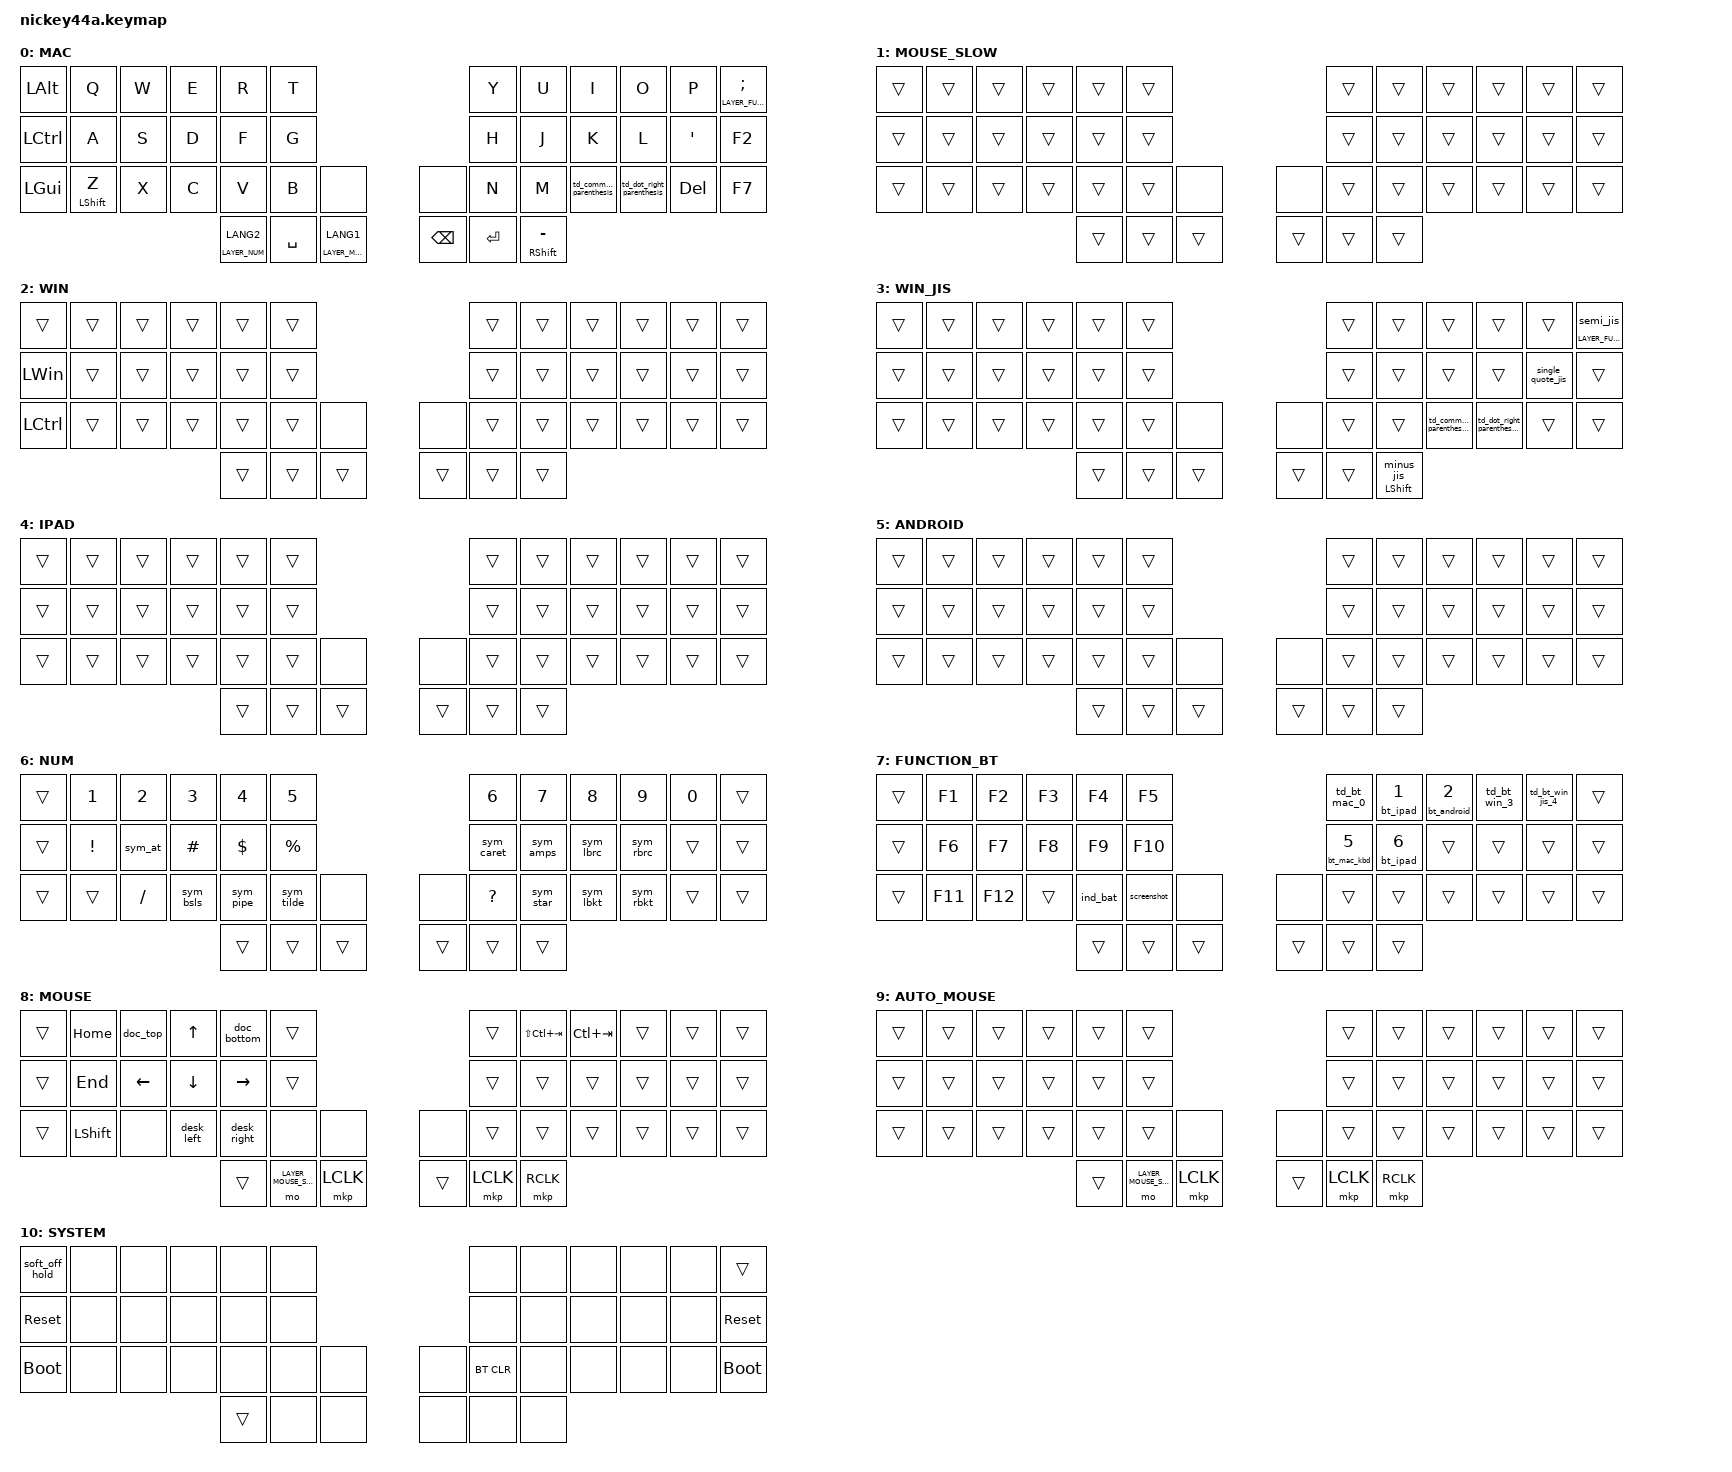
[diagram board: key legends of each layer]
/*
 * Based on the tomkey keymap (p1us2er0/tomkey config/tomkey.keymap).
 *
 * Key positions differ: tomkey has an inner column and a bottom row, the
 * Nickey44A-PAD has an outer column instead. Positions 30 (right of B) and
 * 31 (left of N) are covered by the trackpads and have no switch, so they
 * are &none. 42 keys are left. Moved keys:
 *   tomkey bottom row Cmd / Opt / Ctrl -> left outer column bottom / top / middle
 *   tomkey inner ;/FUNCTION            -> right outer column top (11), FUNCTION_BT
 *   tomkey inner -/Shift               -> right thumb outer (43)
 *   tomkey inner '                     -> right home row, pinky (22)
 *   tomkey bottom right Del            -> right bottom row, pinky (36)
 *   tomkey pinky F2 / F7               -> right outer column middle / bottom (23 / 37)
 *   tomkey inner Ctrl+Space            -> combo F + G
 *   tomkey combo ' + H for `           -> J + K
 *
 * FUNCTION_BT has the F keys on the left (F1-F5 on the top row, F6-F10 on
 * the home row, then F11 and F12, with battery on V and screenshot on B)
 * and the Bluetooth profiles on the right: the first host of each kind on
 * the top row, the second Mac and iPad below the first. Its left outer column stays the
 * modifiers, so that they work with the F keys in either order. Reset,
 * Boot, soft off and BT_CLR are on SYSTEM, which is on only while both
 * FUNCTION_BT and NUM are held (; and LANG2, two hands): Reset and Boot on the
 * outer column of both halves, middle and bottom, as the right outer top
 * is the FUNCTION_BT key itself.
 *
 * Layer numbers differ from tomkey. nickey44a_r.overlay refers to layers
 * by number, so keep these in step with it: MOUSE_SLOW (1) slows the right
 * trackpad, turns its two-finger left/right swipes into Back/Forward and
 * its two-finger tap into the zoom reset, WIN (2), IPAD (4) and ANDROID (5)
 * pick the host's swipe keys, NUM (6) turns the right pad's swipes into the
 * app switcher, and touching the pad enters AUTO_MOUSE (9). The rgbled
 * colors in nickey44a_r.conf are per layer number too (SYSTEM (10) is red).
 *
 * WIN, WIN_JIS, IPAD and ANDROID are host flags, set by the Bluetooth
 * profile keys on FUNCTION_BT, and at startup for the saved profile by
 * profile_layers below (src/profile_layers.c). WIN is on for both Windows
 * profiles and for Android, whose shortcuts use Ctrl as on Windows. WIN_JIS
 * is on as well for the JIS Windows and only holds the keys whose symbols
 * move on JIS; ANDROID is on as well for Android and picks the few keys that
 * differ from Windows. The flags sit below NUM so that NUM's keys win over
 * the WIN_JIS keys, and keys that differ by host choose their binding with
 * layer morphs (zmk,behavior-layer-morph) instead of separate layers. The
 * combos with a layer list name every host flag: ZMK checks a combo's
 * layers against the highest active layer only.
 */

#include <behaviors.dtsi>
#include <dt-bindings/zmk/bt.h>
#include <dt-bindings/zmk/keys.h>
#include <dt-bindings/zmk/pointing.h>
#include <behaviors/rgbled_widget.dtsi>  // &ind_bat: FUNCTION_BT + V shows the battery levels

#define LAYER_MAC 0
#define LAYER_MOUSE_SLOW 1
#define LAYER_WIN 2
#define LAYER_WIN_JIS 3
#define LAYER_IPAD 4
#define LAYER_ANDROID 5
#define LAYER_NUM 6
#define LAYER_FUNCTION_BT 7
#define LAYER_MOUSE 8
#define LAYER_AUTO_MOUSE 9
#define LAYER_SYSTEM 10

#define ZKHK_JIS                  GRAVE                  // Zenkaku ↔ Hankaku ↔ Kanji (半角 ↔ 全角 ↔ 漢字)
#define MINUS_JIS                 MINUS                  // -
#define CARET_JIS                 EQUAL                  // ^
#define YEN_JIS                   INT3                   // ¥
#define AT_SIGN_JIS               LBKT                   // @
#define LEFT_BRACKET_JIS          RBKT                   // [
#define EISU_JIS                  CAPS                   // Eisū (英数)
#define SEMI_JIS                  SEMI                   // ;
#define COLON_JIS                 SQT                    // :
#define RIGHT_BRACKET_JIS         NUHS                   // ]
#define COMMA_JIS                 COMMA                  // ,
#define DOT_JIS                   DOT                    // .
#define SLASH_JIS                 SLASH                  // /
#define BACKSLASH_JIS             INT1                   // (backslash)
#define MHEN_JIS                  INT5                   // Muhenkan (無変換)
#define HENK_JIS                  INT4                   // Henkan (変換)
#define KANA_JIS                  INT2                   // Katakana ↔ Hiragana ↔ Rōmaji (カタカナ ↔ ひらがな ↔ ローマ字)
#define EXCLAMATION_JIS           LS(N1)                 // !
#define DOUBLE_QUOTE_JIS          LS(N2)                 // "
#define HASH_JIS                  LS(N3)                 // #
#define DOLLAR_JIS                LS(N4)                 // $
#define PERCENT_JIS               LS(N5)                 // %
#define AMPERSAND_JIS             LS(N6)                 // &
#define SINGLE_QUOTE_JIS          LS(N7)                 // '
#define LEFT_PARENTHESIS_JIS      LS(N8)                 // (
#define RIGHT_PARENTHESIS_JIS     LS(N9)                 // )
#define EQUAL_JIS                 LS(MINUS_JIS)          // =
#define TILDE_JIS                 LS(CARET_JIS)          // ~
#define PIPE_JIS                  LS(YEN_JIS)            // |
#define GRAVE_JIS                 LS(AT_SIGN_JIS)        // `
#define LEFT_BRACE_JIS            LS(LEFT_BRACKET_JIS)   // {
#define CAPS_JIS                  LS(EISU_JIS)           // Caps Lock
#define PLUS_JIS                  LS(SEMI_JIS)           // +
#define ASTERISK_JIS              LS(COLON_JIS)          // *
#define RIGHT_BRACE_JIS           LS(RIGHT_BRACKET_JIS)  // }
#define LT_JIS                    LS(COMMA_JIS)          // <
#define RT_JIS                    LS(DOT_JIS)            // >
#define QUESTION_JIS              LS(SLASH_JIS)          // ?
#define UNDER_JIS                 LS(BACKSLASH_JIS)      // _

&mt {
    flavor = "balanced";
    quick-tap-ms = <0>;
    tapping-term-ms = <500>;
};

/*
 * Same as tomkey (where this is in tomkey_L.overlay): do not enter the auto
 * mouse layer within 300 ms of a key press, and leave it at once on any key
 * other than the modifiers (Opt 0, Ctrl 12, Cmd 24, Z/Shift 25) and the
 * thumb keys used in AUTO_MOUSE (Space 39, LANG1 40, Enter 42, -/Shift 43).
 * Backspace (41) types and leaves, like the other keys.
 */
&zip_temp_layer {
    require-prior-idle-ms = <300>;
    excluded-positions = <0 12 24 25 39 40 42 43>;
};

&mkp_input_listener { input-processors = <&zip_temp_layer LAYER_AUTO_MOUSE 500>; };

/ {
    combos {
        compatible = "zmk,combos";

        escape {
            bindings = <&kp ESC>;
            key-positions = <1 2>;
        };

        tab {
            bindings = <&kp TAB>;
            key-positions = <14 15>;
        };

        shift_tab {
            bindings = <&kp LS(TAB)>;
            key-positions = <13 14>;
        };

        // tomkey has Ctrl+Space on the inner key right of G, on the base
        // layer only (&trans elsewhere), so this combo works on every layer.
        ctrl_space {
            bindings = <&kp LC(SPACE)>;
            key-positions = <16 17>;
        };

        // These pick the key for the host with layer morphs (&os_comment and
        // the others), on the base layers and NUM.
        comment {
            bindings = <&os_comment>;
            key-positions = <15 16>;
            layers = <LAYER_MAC LAYER_WIN LAYER_WIN_JIS LAYER_IPAD LAYER_ANDROID LAYER_NUM>;
        };

        back_quote {
            bindings = <&os_grave>;
            key-positions = <19 20>;
            layers = <LAYER_MAC LAYER_WIN LAYER_WIN_JIS LAYER_IPAD LAYER_ANDROID LAYER_NUM>;
        };

        equal {
            bindings = <&os_equal>;
            key-positions = <18 19>;
            layers = <LAYER_MAC LAYER_WIN LAYER_WIN_JIS LAYER_IPAD LAYER_ANDROID LAYER_NUM>;
        };

        back {
            bindings = <&kp LG(LEFT_ARROW)>;
            key-positions = <25 26>;
            layers = <LAYER_MAC LAYER_IPAD>;
        };

        next {
            bindings = <&kp LG(RIGHT_ARROW)>;
            key-positions = <26 27>;
            layers = <LAYER_MAC LAYER_IPAD>;
        };

        back_win {
            bindings = <&kp LA(LEFT_ARROW)>;
            key-positions = <25 26>;
            layers = <LAYER_WIN LAYER_WIN_JIS LAYER_ANDROID>;
        };

        next_win {
            bindings = <&kp LA(RIGHT_ARROW)>;
            key-positions = <26 27>;
            layers = <LAYER_WIN LAYER_WIN_JIS LAYER_ANDROID>;
        };
    };

    // SYSTEM while both NUM and FUNCTION_BT are held (; and LANG2).
    conditional_layers {
        compatible = "zmk,conditional-layers";

        system {
            if-layers = <LAYER_NUM LAYER_FUNCTION_BT>;
            then-layer = <LAYER_SYSTEM>;
        };
    };

    // Host flags by Bluetooth profile (src/profile_layers.c): set at startup
    // for the saved profile and on each profile change. The profile keys on
    // FUNCTION_BT set the same layers themselves too, because ZMK raises no
    // event when the active profile is selected again.
    profile_layers {
        compatible = "zmk,profile-layers";
        layers = <LAYER_WIN LAYER_WIN_JIS LAYER_IPAD LAYER_ANDROID>;

        ipad_1 {
            profile = <1>;
            layers = <LAYER_IPAD>;
        };

        ipad_2 {
            profile = <6>;
            layers = <LAYER_IPAD>;
        };

        android {
            profile = <2>;
            layers = <LAYER_WIN LAYER_ANDROID>;
        };

        windows {
            profile = <3>;
            layers = <LAYER_WIN>;
        };

        windows_jis {
            profile = <4>;
            layers = <LAYER_WIN LAYER_WIN_JIS>;
        };
    };

    macros {
        to_layer_0: to_layer_0 {
            compatible = "zmk,behavior-macro-one-param";
            #binding-cells = <1>;
            bindings = <&to 0 &macro_param_1to1 &kp MACRO_PLACEHOLDER>;
            label = "TO_LAYER_0";
        };

        // F19 asks the Mac to take the monitor back once the keyboard has
        // switched to it. ZMK keeps the other hosts connected, so the Mac
        // cannot tell from Bluetooth alone which host is in use.
        bt_mac: bt_mac {
            compatible = "zmk,behavior-macro-one-param";
            #binding-cells = <1>;
            bindings = <&mac_us &macro_wait_time 300 &macro_param_1to2 &bt BT_SEL MACRO_PLACEHOLDER &kp F19>;
            label = "BT_MAC";
        };

        // F18 asks the Mac to hand the monitor over to Windows before the
        // keyboard leaves it. The wait lets the release reach the Mac before
        // the profile switch.
        bt_win: bt_win {
            compatible = "zmk,behavior-macro-one-param";
            #binding-cells = <1>;
            bindings = <&macro_wait_time 200 &kp F18 &macro_wait_time 15 &win_us &macro_param_1to2 &bt BT_SEL MACRO_PLACEHOLDER>;
            label = "BT_WIN";
        };

        bt_win_jis: bt_win_jis {
            compatible = "zmk,behavior-macro-one-param";
            #binding-cells = <1>;
            bindings = <&macro_wait_time 200 &kp F18 &macro_wait_time 15 &win_jis &macro_param_1to2 &bt BT_SEL MACRO_PLACEHOLDER>;
            label = "BT_WIN_JIS";
        };

        // Keyboard-only versions: switch the profile but leave the monitor
        // where it is (no F18/F19).
        bt_mac_kbd: bt_mac_kbd {
            compatible = "zmk,behavior-macro-one-param";
            #binding-cells = <1>;
            bindings = <&mac_us &macro_param_1to2 &bt BT_SEL MACRO_PLACEHOLDER>;
            label = "BT_MAC_KBD";
        };

        bt_win_kbd: bt_win_kbd {
            compatible = "zmk,behavior-macro-one-param";
            #binding-cells = <1>;
            bindings = <&win_us &macro_param_1to2 &bt BT_SEL MACRO_PLACEHOLDER>;
            label = "BT_WIN_KBD";
        };

        bt_win_jis_kbd: bt_win_jis_kbd {
            compatible = "zmk,behavior-macro-one-param";
            #binding-cells = <1>;
            bindings = <&win_jis &macro_param_1to2 &bt BT_SEL MACRO_PLACEHOLDER>;
            label = "BT_WIN_JIS_KBD";
        };

        // The iPad and Android have no monitor to hand over, so no F18/F19.
        bt_ipad: bt_ipad {
            compatible = "zmk,behavior-macro-one-param";
            #binding-cells = <1>;
            bindings = <&ipad &macro_param_1to2 &bt BT_SEL MACRO_PLACEHOLDER>;
            label = "BT_IPAD";
        };

        bt_android: bt_android {
            compatible = "zmk,behavior-macro-one-param";
            #binding-cells = <1>;
            bindings = <&android &macro_param_1to2 &bt BT_SEL MACRO_PLACEHOLDER>;
            label = "BT_ANDROID";
        };

        mac_us: mac_us {
            compatible = "zmk,behavior-macro";
            #binding-cells = <0>;
            bindings = <&tog_off LAYER_WIN &tog_off LAYER_WIN_JIS &tog_off LAYER_IPAD &tog_off LAYER_ANDROID>;
            label = "MAC_US";
        };

        win_us: win_us {
            compatible = "zmk,behavior-macro";
            #binding-cells = <0>;
            bindings = <&tog_on LAYER_WIN &tog_off LAYER_WIN_JIS &tog_off LAYER_IPAD &tog_off LAYER_ANDROID>;
            label = "WIN_US";
        };

        win_jis: win_jis {
            compatible = "zmk,behavior-macro";
            #binding-cells = <0>;
            bindings = <&tog_on LAYER_WIN &tog_on LAYER_WIN_JIS &tog_off LAYER_IPAD &tog_off LAYER_ANDROID>;
            label = "WIN_JIS";
        };

        // The iPad takes the Mac keys; IPAD picks its swipes and MOUSE keys.
        ipad: ipad {
            compatible = "zmk,behavior-macro";
            #binding-cells = <0>;
            bindings = <&tog_off LAYER_WIN &tog_off LAYER_WIN_JIS &tog_on LAYER_IPAD &tog_off LAYER_ANDROID>;
            label = "IPAD";
        };

        // Android takes the Windows keys: its shortcuts use Ctrl, and the
        // key in Ctrl's place on the Mac is Meta (Win). ANDROID picks the
        // few keys that differ from Windows.
        android: android {
            compatible = "zmk,behavior-macro";
            #binding-cells = <0>;
            bindings = <&tog_on LAYER_WIN &tog_off LAYER_WIN_JIS &tog_off LAYER_IPAD &tog_on LAYER_ANDROID>;
            label = "ANDROID";
        };
    };

    behaviors {
        lt_to_layer_0: lt_to_layer_0 {
            compatible = "zmk,behavior-hold-tap";
            label = "LAYER_TAP_TO_0";
            bindings = <&mo>, <&to_layer_0>;

            #binding-cells = <2>;
            tapping-term-ms = <500>;
        };

        td_comma_left_parenthesis: td_comma_left_parenthesis {
            compatible = "zmk,behavior-tap-dance";
            label = "TD_COMMA_LEFT_PARENTHESIS";
            #binding-cells = <0>;
            bindings = <&kp COMMA>, <&kp LEFT_PARENTHESIS>;
        };

        td_dot_right_parenthesis: td_dot_right_parenthesis {
            compatible = "zmk,behavior-tap-dance";
            label = "TD_DOT_RIGHT_PARENTHESIS";
            #binding-cells = <0>;
            bindings = <&kp DOT>, <&kp RIGHT_PARENTHESIS>;
        };

        single_quote_jis: single_quote_jis {
            compatible = "zmk,behavior-mod-morph";
            label = "SINGLE_QUOTE_JIS";
            #binding-cells = <0>;
            bindings = <&kp SINGLE_QUOTE_JIS>, <&kp DOUBLE_QUOTE_JIS>;

            mods = <(MOD_LSFT|MOD_RSFT)>;
        };

        equal_jis: equal_jis {
            compatible = "zmk,behavior-mod-morph";
            label = "EQUAL_JIS";
            #binding-cells = <0>;
            bindings = <&kp EQUAL_JIS>, <&kp PLUS_JIS>;

            mods = <(MOD_LSFT|MOD_RSFT)>;
        };

        minus_jis: minus_jis {
            compatible = "zmk,behavior-mod-morph";
            label = "MINUS_JIS";
            #binding-cells = <0>;
            bindings = <&kp MINUS_JIS>, <&kp UNDER_JIS>;

            mods = <(MOD_LSFT|MOD_RSFT)>;
        };

        semi_jis: semi_jis {
            compatible = "zmk,behavior-mod-morph";
            label = "SEMI_JIS";
            #binding-cells = <0>;
            bindings = <&kp SEMI_JIS>, <&kp COLON_JIS>;

            mods = <(MOD_LSFT|MOD_RSFT)>;
        };

        mt_minus_jis: mt_minus_jis {
            compatible = "zmk,behavior-hold-tap";
            label = "MT_MINUS_JIS";
            bindings = <&kp>, <&minus_jis>;

            #binding-cells = <2>;
            tapping-term-ms = <500>;
        };

        lt_semi_jis: lt_semi_jis {
            compatible = "zmk,behavior-hold-tap";
            label = "LT_SEMI_JIS";
            bindings = <&mo>, <&semi_jis>;

            #binding-cells = <2>;
            tapping-term-ms = <500>;
        };

        td_comma_left_parenthesis_jis: td_comma_left_parenthesis_jis {
            compatible = "zmk,behavior-tap-dance";
            label = "TD_COMMA_LEFT_PARENTHESIS_JIS";
            #binding-cells = <0>;
            bindings = <&kp COMMA_JIS>, <&kp LEFT_PARENTHESIS_JIS>;
        };

        td_dot_right_parenthesis_jis: td_dot_right_parenthesis_jis {
            compatible = "zmk,behavior-tap-dance";
            label = "TD_DOT_RIGHT_PARENTHESIS_JIS";
            #binding-cells = <0>;
            bindings = <&kp DOT_JIS>, <&kp RIGHT_PARENTHESIS_JIS>;
        };

        // Profile keys: a single tap switches the keyboard and the monitor, a
        // double tap switches only the keyboard (to work on the Mac's built-in
        // display, or on the Windows PC's own screen, for a moment). A single
        // tap waits out the tapping term before it acts.
        td_bt_mac_0: td_bt_mac_0 {
            compatible = "zmk,behavior-tap-dance";
            label = "TD_BT_MAC_0";
            #binding-cells = <0>;
            tapping-term-ms = <300>;
            bindings = <&bt_mac 0>, <&bt_mac_kbd 0>;
        };

        td_bt_win_3: td_bt_win_3 {
            compatible = "zmk,behavior-tap-dance";
            label = "TD_BT_WIN_3";
            #binding-cells = <0>;
            tapping-term-ms = <300>;
            bindings = <&bt_win 3>, <&bt_win_kbd 3>;
        };

        td_bt_win_jis_4: td_bt_win_jis_4 {
            compatible = "zmk,behavior-tap-dance";
            label = "TD_BT_WIN_JIS_4";
            #binding-cells = <0>;
            tapping-term-ms = <300>;
            bindings = <&bt_win_jis 4>, <&bt_win_jis_kbd 4>;
        };

        tog_on: tog_on {
            compatible = "zmk,behavior-toggle-layer";
            label = "TOG_ON";
            #binding-cells = <1>;
            toggle-mode = "on";
        };

        tog_off: tog_off {
            compatible = "zmk,behavior-toggle-layer";
            label = "TOG_OFF";
            #binding-cells = <1>;
            toggle-mode = "off";
        };

        /*
         * Turns both halves off: SYSTEM + left outer top (0), held for 1 s
         * and released. Unlike &soft_off, the left half also waits for the
         * release, which reaches the right half only while the left half is
         * on. No key wakes them, so pressure in a carrying case cannot: turn
         * each half's power switch off and on (or press its reset button).
         * The RGB LED goes off too (src/soft_off_leds.c). The node name stays
         * within the 8 characters that the split link allows for a behavior
         * name.
         */
        soft_off_hold: so_hold {
            compatible = "zmk,behavior-soft-off";
            #binding-cells = <0>;
            hold-time-ms = <1000>;
        };

        /*
         * MOUSE keys that do the same thing on the Mac and on Windows: the
         * first binding is for the Mac, the second for WIN and WIN_JIS (on
         * while a Windows profile is selected). See src/behavior_layer_morph.c.
         */
        doc_top: doc_top {
            compatible = "zmk,behavior-layer-morph";
            #binding-cells = <0>;
            bindings = <&kp LG(UP_ARROW)>, <&kp LC(HOME)>;
            layers = <LAYER_WIN>;
        };

        doc_bottom: doc_bottom {
            compatible = "zmk,behavior-layer-morph";
            #binding-cells = <0>;
            bindings = <&kp LG(DOWN_ARROW)>, <&kp LC(END)>;
            layers = <LAYER_WIN>;
        };

        // Virtual desktops, as with a two-finger left/right swipe on the left pad.
        desk_left_mw: desk_left_mw {
            compatible = "zmk,behavior-layer-morph";
            #binding-cells = <0>;
            bindings = <&kp LC(LEFT_ARROW)>, <&kp LG(LC(LEFT_ARROW))>;
            layers = <LAYER_WIN>;
        };

        desk_right_mw: desk_right_mw {
            compatible = "zmk,behavior-layer-morph";
            #binding-cells = <0>;
            bindings = <&kp LC(RIGHT_ARROW)>, <&kp LG(LC(RIGHT_ARROW))>;
            layers = <LAYER_WIN>;
        };

        // The iPad and Android have no desktops: C goes to the Home Screen
        // (Cmd+H on the iPad, Meta+H on Android), V to the last app.
        desk_left: desk_left {
            compatible = "zmk,behavior-layer-morph";
            #binding-cells = <0>;
            bindings = <&desk_left_mw>, <&kp LG(H)>;
            layers = <LAYER_IPAD LAYER_ANDROID>;
        };

        desk_right: desk_right {
            compatible = "zmk,behavior-layer-morph";
            #binding-cells = <0>;
            bindings = <&desk_right_mw>, <&last_app>;
            layers = <LAYER_IPAD LAYER_ANDROID>;
        };

        // The last app: Cmd+Tab on the iPad, Alt+Tab on Android (on tablets
        // from Android 14, as on Windows).
        last_app: last_app {
            compatible = "zmk,behavior-layer-morph";
            #binding-cells = <0>;
            bindings = <&kp LG(TAB)>, <&kp LA(TAB)>;
            layers = <LAYER_ANDROID>;
        };

        // Screenshot, on FUNCTION_BT at B: an area with Cmd+Shift+4 on
        // the Mac and the iPad and with Win+Shift+S on Windows, the whole
        // screen with Meta+Ctrl+S on Android, which has no key for an area.
        screenshot: screenshot {
            compatible = "zmk,behavior-layer-morph";
            #binding-cells = <0>;
            bindings = <&screenshot_mw>, <&kp LG(LC(S))>;
            layers = <LAYER_ANDROID>;
        };

        screenshot_mw: screenshot_mw {
            compatible = "zmk,behavior-layer-morph";
            #binding-cells = <0>;
            bindings = <&kp LG(LS(N4))>, <&kp LG(LS(S))>;
            layers = <LAYER_WIN>;
        };

        // Combos: comment out (Cmd+/ or Ctrl+/), ` and =.
        os_comment: os_comment {
            compatible = "zmk,behavior-layer-morph";
            #binding-cells = <0>;
            bindings = <&kp LG(SLASH)>, <&kp LC(SLASH)>;
            layers = <LAYER_WIN>;
        };

        os_grave: os_grave {
            compatible = "zmk,behavior-layer-morph";
            #binding-cells = <0>;
            bindings = <&kp GRAVE>, <&kp GRAVE_JIS>;
            layers = <LAYER_WIN_JIS>;
        };

        os_equal: os_equal {
            compatible = "zmk,behavior-layer-morph";
            #binding-cells = <0>;
            bindings = <&kp EQUAL>, <&equal_jis>;
            layers = <LAYER_WIN_JIS>;
        };

        /*
         * NUM symbols on a different key on a JIS host: the first binding is
         * for US hosts, the second for WIN_JIS. The other NUM keys are the
         * same on both.
         */
        sym_at: sym_at {
            compatible = "zmk,behavior-layer-morph";
            #binding-cells = <0>;
            bindings = <&kp AT_SIGN>, <&kp AT_SIGN_JIS>;
            layers = <LAYER_WIN_JIS>;
        };

        sym_caret: sym_caret {
            compatible = "zmk,behavior-layer-morph";
            #binding-cells = <0>;
            bindings = <&kp CARET>, <&kp CARET_JIS>;
            layers = <LAYER_WIN_JIS>;
        };

        sym_amps: sym_amps {
            compatible = "zmk,behavior-layer-morph";
            #binding-cells = <0>;
            bindings = <&kp AMPERSAND>, <&kp AMPERSAND_JIS>;
            layers = <LAYER_WIN_JIS>;
        };

        sym_lbrc: sym_lbrc {
            compatible = "zmk,behavior-layer-morph";
            #binding-cells = <0>;
            bindings = <&kp LEFT_BRACE>, <&kp LEFT_BRACE_JIS>;
            layers = <LAYER_WIN_JIS>;
        };

        sym_rbrc: sym_rbrc {
            compatible = "zmk,behavior-layer-morph";
            #binding-cells = <0>;
            bindings = <&kp RIGHT_BRACE>, <&kp RIGHT_BRACE_JIS>;
            layers = <LAYER_WIN_JIS>;
        };

        sym_bsls: sym_bsls {
            compatible = "zmk,behavior-layer-morph";
            #binding-cells = <0>;
            bindings = <&kp BACKSLASH>, <&kp BACKSLASH_JIS>;
            layers = <LAYER_WIN_JIS>;
        };

        sym_pipe: sym_pipe {
            compatible = "zmk,behavior-layer-morph";
            #binding-cells = <0>;
            bindings = <&kp PIPE>, <&kp PIPE_JIS>;
            layers = <LAYER_WIN_JIS>;
        };

        sym_tilde: sym_tilde {
            compatible = "zmk,behavior-layer-morph";
            #binding-cells = <0>;
            bindings = <&kp TILDE>, <&kp TILDE_JIS>;
            layers = <LAYER_WIN_JIS>;
        };

        sym_star: sym_star {
            compatible = "zmk,behavior-layer-morph";
            #binding-cells = <0>;
            bindings = <&kp ASTERISK>, <&kp ASTERISK_JIS>;
            layers = <LAYER_WIN_JIS>;
        };

        sym_lbkt: sym_lbkt {
            compatible = "zmk,behavior-layer-morph";
            #binding-cells = <0>;
            bindings = <&kp LEFT_BRACKET>, <&kp LEFT_BRACKET_JIS>;
            layers = <LAYER_WIN_JIS>;
        };

        sym_rbkt: sym_rbkt {
            compatible = "zmk,behavior-layer-morph";
            #binding-cells = <0>;
            bindings = <&kp RIGHT_BRACKET>, <&kp RIGHT_BRACKET_JIS>;
            layers = <LAYER_WIN_JIS>;
        };
    };

    keymap {
        compatible = "zmk,keymap";

        MAC {
            bindings = <
&kp LEFT_ALT      &kp Q             &kp W  &kp E  &kp R                &kp T                                              &kp Y      &kp U                  &kp I                       &kp O                      &kp P             &lt LAYER_FUNCTION_BT SEMI
&kp LEFT_CONTROL  &kp A             &kp S  &kp D  &kp F                &kp G                                              &kp H      &kp J                  &kp K                       &kp L                      &kp SINGLE_QUOTE  &kp F2
&kp LEFT_GUI      &mt LEFT_SHIFT Z  &kp X  &kp C  &kp V                &kp B      &none                    &none          &kp N      &kp M                  &td_comma_left_parenthesis  &td_dot_right_parenthesis  &kp DELETE        &kp F7
                                                  &lt LAYER_NUM LANG2  &kp SPACE  &lt LAYER_MOUSE LANG1    &kp BACKSPACE  &kp ENTER  &mt RIGHT_SHIFT MINUS
            >;
        };

        // Layer 1. Only a switch for nickey44a_r.overlay: while it is active
        // the right trackpad moves at 2/3 speed and its two-finger left/right
        // swipes go back and forward. Entered with Space in MOUSE and AUTO_MOUSE, like
        // MOUSE_SLOW on tomkey.
        MOUSE_SLOW {
            bindings = <
&trans  &trans  &trans  &trans  &trans  &trans                    &trans  &trans  &trans  &trans  &trans  &trans
&trans  &trans  &trans  &trans  &trans  &trans                    &trans  &trans  &trans  &trans  &trans  &trans
&trans  &trans  &trans  &trans  &trans  &trans  &none     &none   &trans  &trans  &trans  &trans  &trans  &trans
                                &trans  &trans  &trans    &trans  &trans  &trans
            >;
        };

        WIN {
            bindings = <
&trans            &trans  &trans  &trans  &trans  &trans                    &trans  &trans  &trans  &trans  &trans  &trans
&kp LEFT_WIN      &trans  &trans  &trans  &trans  &trans                    &trans  &trans  &trans  &trans  &trans  &trans
&kp LEFT_CONTROL  &trans  &trans  &trans  &trans  &trans  &none     &none   &trans  &trans  &trans  &trans  &trans  &trans
                                          &trans  &trans  &trans    &trans  &trans  &trans
            >;
        };

        // Layer 3. On together with WIN for the JIS Windows profile (BT4), so
        // WIN gives it Win and Ctrl; this only has the keys whose symbols move
        // on JIS. The NUM symbols that move are layer morphs on NUM.
        WIN_JIS {
            bindings = <
&trans  &trans  &trans  &trans  &trans  &trans                    &trans  &trans                      &trans                          &trans                         &trans             &lt_semi_jis LAYER_FUNCTION_BT 0
&trans  &trans  &trans  &trans  &trans  &trans                    &trans  &trans                      &trans                          &trans                         &single_quote_jis  &trans
&trans  &trans  &trans  &trans  &trans  &trans  &none     &none   &trans  &trans                      &td_comma_left_parenthesis_jis  &td_dot_right_parenthesis_jis  &trans             &trans
                                &trans  &trans  &trans    &trans  &trans  &mt_minus_jis LEFT_SHIFT 0
            >;
        };

        // Layer 4. Only a flag for the iPad (BT1), like WIN for Windows:
        // nickey44a_r.overlay and the MOUSE keys C and V check it. Set with
        // the other host flags (profile_layers and the profile keys).
        IPAD {
            bindings = <
&trans  &trans  &trans  &trans  &trans  &trans                    &trans  &trans  &trans  &trans  &trans  &trans
&trans  &trans  &trans  &trans  &trans  &trans                    &trans  &trans  &trans  &trans  &trans  &trans
&trans  &trans  &trans  &trans  &trans  &trans  &none     &none   &trans  &trans  &trans  &trans  &trans  &trans
                                &trans  &trans  &trans    &trans  &trans  &trans
            >;
        };

        // Layer 5. Only a flag for Android (BT2), on together with WIN, as
        // WIN_JIS is for the JIS Windows: Android takes the Windows keys, and
        // nickey44a_r.overlay and the MOUSE keys C and V check this flag for
        // the few that differ.
        ANDROID {
            bindings = <
&trans  &trans  &trans  &trans  &trans  &trans                    &trans  &trans  &trans  &trans  &trans  &trans
&trans  &trans  &trans  &trans  &trans  &trans                    &trans  &trans  &trans  &trans  &trans  &trans
&trans  &trans  &trans  &trans  &trans  &trans  &none     &none   &trans  &trans  &trans  &trans  &trans  &trans
                                &trans  &trans  &trans    &trans  &trans  &trans
            >;
        };

        NUM {
            bindings = <
&trans  &kp NUMBER_1     &kp NUMBER_2  &kp NUMBER_3  &kp NUMBER_4  &kp N5                         &kp NUMBER_6  &kp N7     &kp N8     &kp N9     &kp N0  &trans
&trans  &kp EXCLAMATION  &sym_at       &kp HASH      &kp DOLLAR    &kp PERCENT                    &sym_caret    &sym_amps  &sym_lbrc  &sym_rbrc  &trans  &trans
&trans  &trans           &kp SLASH     &sym_bsls     &sym_pipe     &sym_tilde   &none     &none   &kp QUESTION  &sym_star  &sym_lbkt  &sym_rbkt  &trans  &trans
                                                     &trans        &trans       &trans    &trans  &trans        &trans
            >;
        };

        FUNCTION_BT {
            bindings = <
&trans  &kp F1   &kp F2   &kp F3       &kp F4    &kp F5                     &td_bt_mac_0   &bt_ipad 1  &bt_android 2  &td_bt_win_3  &td_bt_win_jis_4  &trans
&trans  &kp F6   &kp F7   &kp F8       &kp F9    &kp F10                    &bt_mac_kbd 5  &bt_ipad 6  &trans         &trans        &trans            &trans
&trans  &kp F11  &kp F12  &trans       &ind_bat  &screenshot  &none  &none   &trans         &trans      &trans         &trans        &trans            &trans
                                       &trans    &trans   &trans    &trans  &trans         &trans
            >;
        };

        MOUSE {
            bindings = <
&trans  &kp HOME        &doc_top        &kp UP_ARROW    &doc_bottom      &trans                                     &trans     &kp LS(LC(TAB))  &kp LC(TAB)  &trans  &trans  &trans
&trans  &kp END         &kp LEFT_ARROW  &kp DOWN_ARROW  &kp RIGHT_ARROW  &trans                                     &trans     &trans           &trans       &trans  &trans  &trans
&trans  &kp LEFT_SHIFT  &none           &desk_left      &desk_right      &none                 &none        &none   &trans     &trans           &trans       &trans  &trans  &trans
                                                        &trans           &mo LAYER_MOUSE_SLOW  &mkp LCLK    &trans  &mkp LCLK  &mkp RCLK
            >;
        };

        // Entered automatically by touching the right trackpad (see
        // nickey44a_r.overlay) and for a moment after a click key. Only the
        // thumb keys change, so shortcuts such as Cmd+C keep working right
        // after using the trackpad.
        AUTO_MOUSE {
            bindings = <
&trans  &trans  &trans  &trans  &trans  &trans                                     &trans     &trans     &trans  &trans  &trans  &trans
&trans  &trans  &trans  &trans  &trans  &trans                                     &trans     &trans     &trans  &trans  &trans  &trans
&trans  &trans  &trans  &trans  &trans  &trans                &none        &none   &trans     &trans     &trans  &trans  &trans  &trans
                                &trans  &mo LAYER_MOUSE_SLOW  &mkp LCLK    &trans  &mkp LCLK  &mkp RCLK
            >;
        };

        // Layer 10. Keys that stop or reset the keyboard, kept off FUNCTION_BT so
        // that the modifiers on its left outer column stay safe: on only
        // while both ; (FUNCTION_BT) and LANG2 (NUM) are held. Reset and Boot act
        // on the half they are on.
        SYSTEM {
            bindings = <
&soft_off_hold  &none  &none  &none  &none  &none                    &none  &none  &none       &none  &none  &trans
&sys_reset      &none  &none  &none  &none  &none                    &none  &none  &none       &none  &none  &sys_reset
&bootloader     &none  &none  &none  &none  &none  &none     &none   &bt BT_CLR  &none  &none  &none  &none  &bootloader
                                     &trans &none  &none     &none   &none  &none
            >;
        };
    };
};
